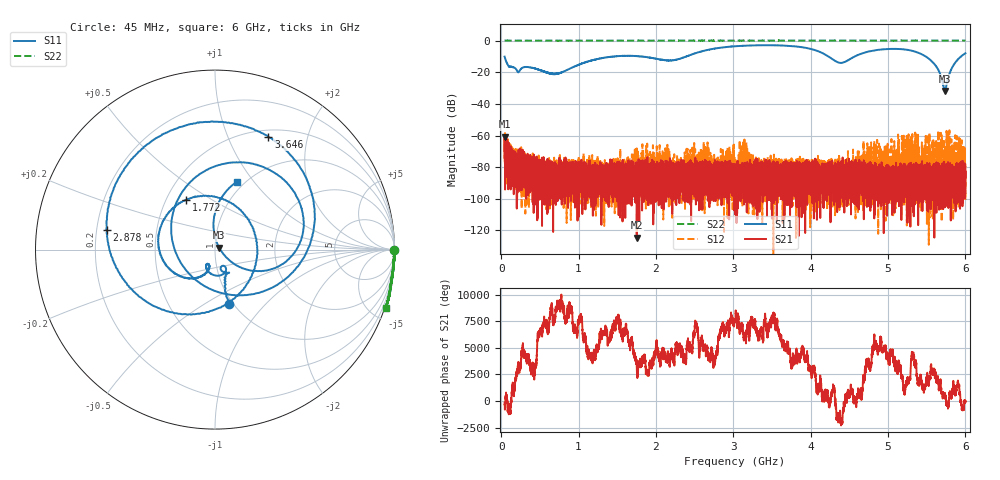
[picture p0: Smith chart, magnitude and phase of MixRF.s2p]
!Agilent Technologies,E8364A,US41440144,A.06.04.32
!Agilent E8364A: A.06.04.32
!Date: Wednesday, November 28, 2018 16:43:25
!Correction: S11(Full 2 Port(1,2)) S21(Full 2 Port(1,2)) S12(Full 2 Port(1,2)) S22(Full 2 Port(1,2))
!S2P File: Measurements: S11, S21, S12, S22:
# Hz S  dB  R 50
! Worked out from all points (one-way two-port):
!   16001 points, 45 MHz to 6 GHz, reference 50 ohm
!   highest |S21| = -60.68 dB at 48.72 MHz (marker M1); lowest = -124.6 dB at 1.753 GHz (marker M2)
!   lowest |S11| = -31.9 dB at 5.734 GHz (marker M3), VSWR 1.05, Z = 52.3 + j1.17 ohm
!   |S11| at or under -10 dB: start of sweep to 1.459 GHz; 1.817 GHz to 2.393 GHz (576 MHz wide, 27.4 % of centre); 5.485 GHz to 5.945 GHz (459.3 MHz wide, 8.04 % of centre) (the widest 3 of 18)
!   |S22| runs from -0.1 to 0.1 dB; largest |S21 - S12| = 0.0017
!   S11 on the Smith chart (normalised r, x): 45 MHz: 0.96, -0.64; 1.772 GHz: 0.63, +0.39; 2.878 GHz: 0.24, +0.09; 3.646 GHz: 0.58, +1.41; 6 GHz: 0.92, +0.83
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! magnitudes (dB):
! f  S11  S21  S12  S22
! 45 MHz  -10.1  -69.9  -63.1  0.0
! 48.72 MHz  -10.8  -60.7  -62.2  0.0
! 112.4 MHz  -16.6  -71.1  -68.5  0.0
! 222.5 MHz  -20.1  -77.2  -87.7  0.0
! 318.9 MHz  -16.6  -79.9  -85.8  0.0
! 700 MHz  -20.9  -84.8  -80.2  0.0
! 1.038 GHz  -14.6  -85.4  -86.3  0.0
! 1.753 GHz  -9.8  -124.6  -81.6  0.0
! 1.772 GHz  -9.9  -85.9  -83.1  0.0
! 2.03 GHz  -11.7  -91.7  -83.9  0.0
! 2.251 GHz  -12.2  -82.4  -82.2  0.0
! 2.878 GHz  -4.3  -80.7  -82.7  0.0
! 3.022 GHz  -3.6  -82.9  -80.7  0.0
! 3.646 GHz  -3.2  -81.0  -79.3  0.0
! 4.015 GHz  -5.4  -83.8  -78.6  0.0
! 4.392 GHz  -14.1  -85.5  -78.4  0.0
! 5.008 GHz  -5.3  -85.3  -88.7  0.0
! 5.496 GHz  -10.3  -81.4  -83.8  0.0
! 5.632 GHz  -17.0  -80.7  -88.6  0.1
! 5.734 GHz  -31.9  -85.4  -92.3  0.0
! 5.847 GHz  -15.5  -80.9  -76.5  0.0
! 6 GHz  -8.0  -86.4  -84.1  0.1
